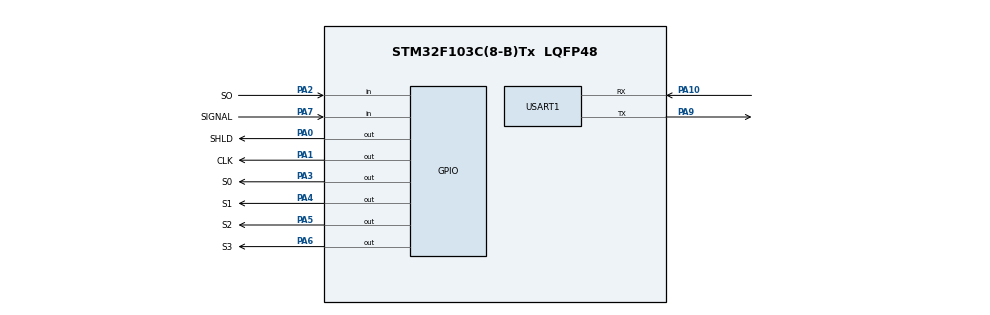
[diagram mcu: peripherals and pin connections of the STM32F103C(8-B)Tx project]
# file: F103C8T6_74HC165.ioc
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Mcu.Family=STM32F1
Mcu.Name=STM32F103C(8-B)Tx
Mcu.Package=LQFP48
NVIC.PriorityGroup=NVIC_PRIORITYGROUP_4
PA0-WKUP.GPIO_Label=SHLD
PA0-WKUP.Signal=GPIO_Output
PA1.GPIO_Label=CLK
PA1.Signal=GPIO_Output
PA10.Mode=Asynchronous
PA10.Signal=USART1_RX
PA2.GPIO_Label=SO
PA2.Signal=GPIO_Input
PA3.GPIO_Label=S0
PA3.Signal=GPIO_Output
PA4.GPIO_Label=S1
PA4.Signal=GPIO_Output
PA5.GPIO_Label=S2
PA5.Signal=GPIO_Output
PA6.GPIO_Label=S3
PA6.Signal=GPIO_Output
PA7.GPIO_Label=SIGNAL
PA7.Signal=GPIO_Input
PA9.Mode=Asynchronous
PA9.Signal=USART1_TX
ProjectManager.HeapSize=0x200
ProjectManager.StackSize=0x400
ProjectManager.TargetToolchain=MDK-ARM V5
RCC.APB1Freq_Value=8000000
RCC.APB2Freq_Value=8000000
USART1.VirtualMode=VM_ASYNC
VP_SYS_VS_ND.Mode=No_Debug
board=custom

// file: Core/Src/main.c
/* USER CODE BEGIN Header */
/**
  ******************************************************************************
  * @file           : main.c
  * @brief          : Main program body
  ******************************************************************************
  * @attention
  *
  * Copyright (c) 2025 STMicroelectronics.
  * All rights reserved.
  *
  * This software is licensed under terms that can be found in the LICENSE file
  * in the root directory of this software component.
  * If no LICENSE file comes with this software, it is provided AS-IS.
  *
  ******************************************************************************
  */
/* USER CODE END Header */
#include "main.h"
#include "usart.h"
#include "gpio.h"

/* USER CODE BEGIN Includes */
#include <stdio.h>
#include <string.h>
/* USER CODE END Includes */

void SystemClock_Config(void);

/* USER CODE BEGIN 0 */
// Ham doc du lieu tu 74HC165
uint16_t read_74HC165(void) {
    uint16_t data = 0;

    // Dua SHLD xuong thap de nap du lieu song song
    HAL_GPIO_WritePin(SHLD_GPIO_Port, SHLD_Pin, GPIO_PIN_RESET);
    HAL_Delay(1); //  nap du lieu
    HAL_GPIO_WritePin(SHLD_GPIO_Port, SHLD_Pin, GPIO_PIN_SET);

    // Doc 16 bit du lieu noi tiep
    for (int i = 0; i < 16; i++) {
			data <<=1;
			if (HAL_GPIO_ReadPin(SO_GPIO_Port, SO_Pin)) {
					data |= 0x01;
			}
			// Tao xung clock
			HAL_GPIO_WritePin(CLK_GPIO_Port, CLK_Pin, GPIO_PIN_SET);
			HAL_Delay(1);
			HAL_GPIO_WritePin(CLK_GPIO_Port, CLK_Pin, GPIO_PIN_RESET);

    }

    return data;
}

// Hàm chọn kênh trên 74HC4067
void set_channel(uint8_t channel) {
    HAL_GPIO_WritePin(S0_GPIO_Port, S0_Pin, (channel & 0x01) ? GPIO_PIN_SET : GPIO_PIN_RESET);
    HAL_GPIO_WritePin(S1_GPIO_Port, S1_Pin, (channel & 0x02) ? GPIO_PIN_SET : GPIO_PIN_RESET);
    HAL_GPIO_WritePin(S2_GPIO_Port, S2_Pin, (channel & 0x04) ? GPIO_PIN_SET : GPIO_PIN_RESET);
    HAL_GPIO_WritePin(S3_GPIO_Port, S3_Pin, (channel & 0x08) ? GPIO_PIN_SET : GPIO_PIN_RESET);
}

// Hàm đọc 16 đầu vào logic
uint16_t read_74HC4067(void) {
    uint16_t data = 0;
    for (uint8_t i = 0; i < 16; i++) {
        set_channel(i); // Chọn kênh
        HAL_Delay(1);   // Đợi ngắn để ổn định tín hiệu
        if (HAL_GPIO_ReadPin(SIGNAL_GPIO_Port, SIGNAL_Pin)) {
            data |= (1 << i); // Đặt bit tương ứng nếu COM = 1
        }
    }
    return data;
}
/* USER CODE END 0 */

int main(void)
{

  /* MCU Configuration--------------------------------------------------------*/

  /* Reset of all peripherals, Initializes the Flash interface and the Systick. */
  HAL_Init();

  /* Configure the system clock */
  SystemClock_Config();

  /* Initialize all configured peripherals */
  MX_GPIO_Init();
  MX_USART1_UART_Init();

  /* Infinite loop */
  while (1)
  {

    /* USER CODE BEGIN 3 */
    uint16_t input_165 = read_74HC165();
//    uint16_t input_16ch = read_74HC4067();
    char str[20];
    // Gui du lieu qua UART
    sprintf(str, "74HC165: %d\r\n", input_165);
    HAL_UART_Transmit(&huart1, (uint8_t*)str, strlen(str), 100);
    HAL_Delay(500);
  }
  /* USER CODE END 3 */
}

void SystemClock_Config(void)
{
  RCC_OscInitTypeDef RCC_OscInitStruct = {0};
  RCC_ClkInitTypeDef RCC_ClkInitStruct = {0};

  /** Initializes the RCC Oscillators according to the specified parameters
  * in the RCC_OscInitTypeDef structure.
  */
  RCC_OscInitStruct.OscillatorType = RCC_OSCILLATORTYPE_HSI;
  RCC_OscInitStruct.HSIState = RCC_HSI_ON;
  RCC_OscInitStruct.HSICalibrationValue = RCC_HSICALIBRATION_DEFAULT;
  RCC_OscInitStruct.PLL.PLLState = RCC_PLL_NONE;
  if (HAL_RCC_OscConfig(&RCC_OscInitStruct) != HAL_OK)
  {
    Error_Handler();
  }

  /** Initializes the CPU, AHB and APB buses clocks
  */
  RCC_ClkInitStruct.ClockType = RCC_CLOCKTYPE_HCLK|RCC_CLOCKTYPE_SYSCLK
                              |RCC_CLOCKTYPE_PCLK1|RCC_CLOCKTYPE_PCLK2;
  RCC_ClkInitStruct.SYSCLKSource = RCC_SYSCLKSOURCE_HSI;
  RCC_ClkInitStruct.AHBCLKDivider = RCC_SYSCLK_DIV1;
  RCC_ClkInitStruct.APB1CLKDivider = RCC_HCLK_DIV1;
  RCC_ClkInitStruct.APB2CLKDivider = RCC_HCLK_DIV1;

  if (HAL_RCC_ClockConfig(&RCC_ClkInitStruct, FLASH_LATENCY_0) != HAL_OK)
  {
    Error_Handler();
  }
}

void Error_Handler(void)
{
  __disable_irq();
  while (1)
  {
  }
}
